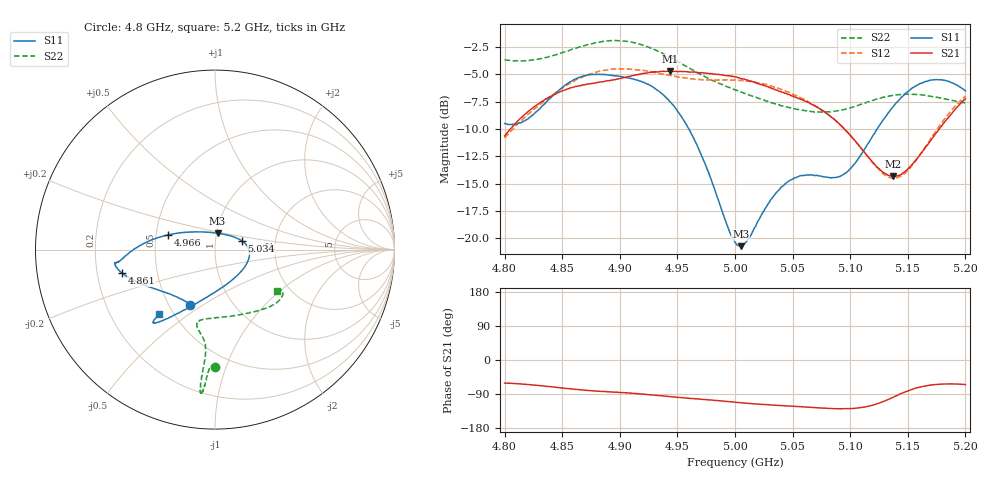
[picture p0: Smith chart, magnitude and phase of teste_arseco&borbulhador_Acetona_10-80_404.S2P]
! Network Analyzer HP8722D
! Hewlett-Packard
! Data name: Linha & Wilkinson
! Saver's name: Rodrigo Anjos
! Comments: Teste da utilização de aquisição
! continua pelo VNA HP8722D
! Time and date: 17/4/2025 17:43
!  Frequency  S11  S21  S12  S22
# HZ  S  MA R 50
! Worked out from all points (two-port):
!   401 points, 4.8 GHz to 5.2 GHz, reference 50 ohm
!   highest |S21| = -4.68 dB at 4.944 GHz (marker M1); lowest = -14.3 dB at 5.137 GHz (marker M2)
!   |S21| within 3 dB of the highest: 4.829 GHz to 5.066 GHz (236.2 MHz wide, 4.77 % of centre); 5.195454 GHz to end of sweep
!   lowest |S11| = -20.7 dB at 5.005 GHz (marker M3), VSWR 1.20, Z = 50.6 + j9.28 ohm
!   |S11| at or under -10 dB: 4.96 GHz to 5.123 GHz (163.3 MHz wide, 3.24 % of centre)
!   |S22| runs from -8.5 to -1.9 dB; largest |S21 - S12| = 0.87
!   S11 on the Smith chart (normalised r, x): 4.8 GHz: 0.64, -0.44; 4.861 GHz: 0.31, -0.11; 4.966 GHz: 0.58, +0.10; 5.034 GHz: 1.34, +0.13; 5.2 GHz: 0.42, -0.39
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4.8e9  0.3355 -114.0  0.2941 -61.0  0.2879 -175.1  0.6568 -90.2
4.819e9  0.3492 -134.0  0.3746 -64.4  0.3632 -173.9  0.6517 -91.8
4.861e9  0.5349 -165.9  0.4941 -77.5  0.5272 -177.1  0.7386 -94.2
4.867e9  0.5506 -168.2  0.5026 -79.2  0.5454 -178.3  0.7574 -94.2
4.903e9  0.5485 -172.7  0.5435 -86.1  0.5969 174.5  0.8003 -95.8
4.934e9  0.4717 -178.5  0.5788 -94.0  0.5697 171.3  0.7143 -96.1
4.944e9  0.4203 177.1  0.5832 -96.6  0.5566 171.5  0.6732 -95.8
4.966e9  0.2745 162.7  0.5756 -102.4  0.5344 173.6  0.5787 -95.2
5e9  0.09613 99.5  0.5482 -111.4  0.5317 175.8  0.4779 -99.3
5.005e9  0.09201 80.9  0.5387 -112.8  0.5275 175.8  0.467 -100.4
5.012e9  0.1002 57.5  0.5265 -114.5  0.5235 175.5  0.4539 -101.8
5.034e9  0.157 18.2  0.4816 -119.5  0.4921 174.5  0.4137 -103.3
5.05e9  0.1867 2.1  0.4483 -122.1  0.4567 173.9  0.3938 -99.3
5.067e9  0.1948 -16.2  0.4096 -125.3  0.4116 173.4  0.3797 -90.3
5.085e9  0.1896 -44.5  0.3543 -128.5  0.3539 173.4  0.3812 -76.8
5.097e9  0.2003 -68.8  0.3081 -128.6  0.3083 174.7  0.3917 -66.9
5.123e9  0.3145 -108.7  0.2125 -115.9  0.2117 -170.5  0.434 -48.5
5.134e9  0.3807 -117.4  0.1935 -102.9  0.1898 -155.9  0.4485 -43.0
5.137e9  0.3986 -119.1  0.1919 -98.8  0.1886 -150.9  0.4516 -41.8
5.15e9  0.4694 -124.9  0.2075 -81.7  0.2044 -131.2  0.4566 -36.9
5.17e9  0.5295 -129.4  0.2809 -66.0  0.2862 -112.2  0.4472 -32.1
5.2e9  0.4725 -131.0  0.4361 -64.7  0.4479 -106.8  0.4157 -33.6
